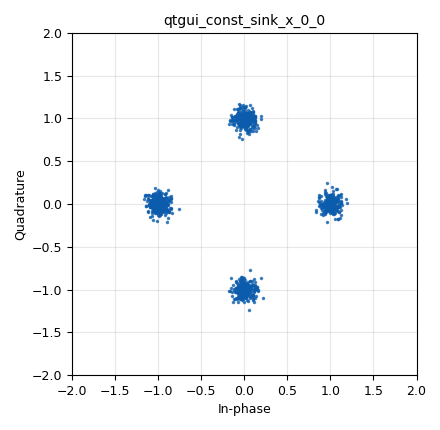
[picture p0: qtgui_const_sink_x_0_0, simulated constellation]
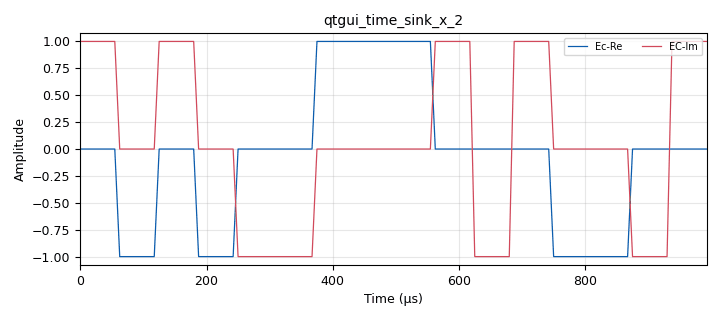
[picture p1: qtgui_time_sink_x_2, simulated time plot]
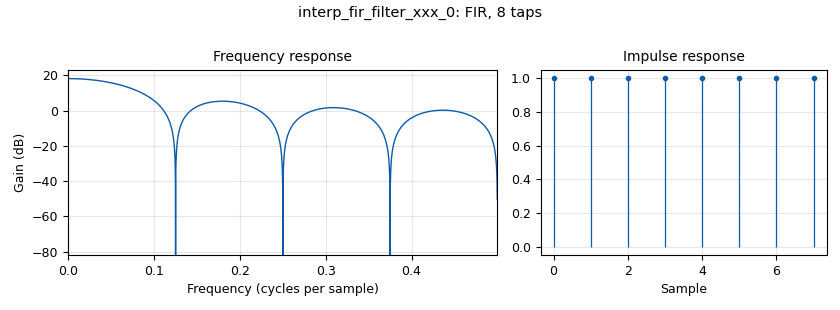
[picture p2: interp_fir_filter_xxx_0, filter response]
options:
  parameters:
    generate_options: qt_gui
    id: PSK
    output_language: python
    title: Not titled yet
  states: {}

blocks:
- name: Constelacion
  id: variable
  parameters:
    value: (-1+0j, 0+1j, 1+0j, 0-1j)
  states: {}
- name: M
  id: variable
  parameters:
    value: '4'
  states: {}
- name: Nbps
  id: variable
  parameters:
    value: int(math.log(M,2))
  states: {}
- name: Rb
  id: variable
  parameters:
    value: '32000'
  states: {}
- name: Rs
  id: variable
  parameters:
    value: Rb/Nbps
  states: {}
- name: Sps
  id: variable
  parameters:
    value: len(h)
  states: {}
- name: h
  id: variable
  parameters:
    value: (1, 1, 1, 1, 1, 1, 1, 1)
  states: {}
- name: samp_rate
  id: variable
  parameters:
    value: Rs*Sps
  states: {}
- name: analog_noise_source_x_0
  id: analog_noise_source_x
  parameters:
    amp: '0.1'
    noise_type: analog.GR_GAUSSIAN
    seed: '0'
    type: complex
  states: {}
- name: analog_random_source_x_0
  id: analog_random_source_x
  parameters:
    max: '2'
    min: '0'
    num_samps: '1000'
    repeat: 'True'
    type: byte
  states: {}
- name: blocks_add_xx_0
  id: blocks_add_xx
  parameters:
    type: complex
  states: {}
- name: blocks_char_to_float_0
  id: blocks_char_to_float
  parameters:
    scale: '1'
  states: {state: disabled}
- name: blocks_char_to_float_0_0
  id: blocks_char_to_float
  parameters:
    scale: '1'
  states: {state: disabled}
- name: blocks_null_sink_0
  id: blocks_null_sink
  parameters:
    type: complex
  states: {}
- name: blocks_repack_bits_bb_0
  id: blocks_repack_bits_bb
  parameters:
    endianness: gr.GR_LSB_FIRST
    k: '1'
    l: Nbps
  states: {}
- name: blocks_throttle2_0
  id: blocks_throttle2
  parameters:
    samples_per_second: samp_rate
    type: complex
  states: {}
- name: digital_chunks_to_symbols_xx_0
  id: digital_chunks_to_symbols_xx
  parameters:
    dimension: '1'
    in_type: byte
    out_type: complex
    symbol_table: Constelacion
  states: {}
- name: epy_block_0
  id: epy_block
  parameters:
    _source_code: |
      """
      Embedded Python Blocks:

      Each time this file is saved, GRC will instantiate the first class it finds
      to get ports and parameters of your block. The arguments to __init__  will
      be the parameters. All of them are required to have default values!
      """

      import numpy as np
      from gnuradio import gr


      class blk(gr.sync_block):  # other base classes are basic_block, decim_block, interp_block
          """Embedded Python Block example - a simple multiply const"""

          def __init__(self, example_param=1.0):  # only default arguments here
              """VCO de dos entradas:
              Q: para manipular la fase en radianes
              A: Manipular amplitud."""
              gr.sync_block.__init__(
                  self,
                  name='e_VCO_fase_fc',   
                  in_sig=[np.float32, np.float32],
                  out_sig=[np.complex64]
              )
              # if an attribute with the same name as a parameter is found,
              # a callback is registered (properties work, too).
              self.example_param = example_param

          def work(self, input_items, output_items):
              """example: multiply with constant"""
              Q = input_items [0]
              A = input_items [1]
              Sec = output_items [0]
              Sec [:] = A*np.exp(1.j*Q)
              return len(Sec)
    example_param: '1.0'
  states: {state: disabled}
- name: import_0
  id: import
  parameters:
    imports: import math
  states: {}
- name: interp_fir_filter_xxx_0
  id: interp_fir_filter_xxx
  parameters:
    interp: '8'
    taps: h
    type: ccc
  states: {}
- name: qtgui_const_sink_x_0
  id: qtgui_const_sink_x
  parameters:
    size: '1024'
    type: complex
  states: {state: disabled}
- name: qtgui_const_sink_x_0_0
  id: qtgui_const_sink_x
  parameters:
    size: '1024'
    type: complex
  states: {}
- name: qtgui_freq_sink_x_1
  id: qtgui_freq_sink_x
  parameters:
    average: '0.05'
    bw: samp_rate
    fc: '0'
    fftsize: '1024'
    type: complex
  states: {state: disabled}
- name: qtgui_time_sink_x_0
  id: qtgui_time_sink_x
  parameters:
    label1: Binary
    marker1: '0'
    size: '32'
    srate: Rb
    stemplot: 'True'
    type: float
    width1: '3'
  states: {state: disabled}
- name: qtgui_time_sink_x_0_0
  id: qtgui_time_sink_x
  parameters:
    label1: M-PAM
    marker1: '0'
    size: int(32/Nbps)
    srate: Rs
    stemplot: 'True'
    type: float
    width1: '3'
  states: {state: disabled}
- name: qtgui_time_sink_x_0_0_0
  id: qtgui_time_sink_x
  parameters:
    label1: M-PAM(mod)
    marker1: '0'
    size: int(32/Nbps)
    srate: Rs
    stemplot: 'True'
    type: float
    width1: '3'
  states: {state: disabled}
- name: qtgui_time_sink_x_1
  id: qtgui_time_sink_x
  parameters:
    label1: EC-Re
    label2: EC-Im
    size: '512'
    srate: Rs
    type: complex
    width1: '3'
    width2: '3'
  states: {state: disabled}
- name: qtgui_time_sink_x_2
  id: qtgui_time_sink_x
  parameters:
    label1: Ec-Re
    label2: EC-Im
    size: int(32*Sps/Nbps)
    srate: samp_rate
    type: complex
    width1: '3'
    width2: '3'
  states: {}

connections:
- [analog_noise_source_x_0, '0', blocks_add_xx_0, '1']
- [analog_noise_source_x_0, '0', qtgui_time_sink_x_1, '0']
- [analog_random_source_x_0, '0', blocks_char_to_float_0, '0']
- [analog_random_source_x_0, '0', blocks_repack_bits_bb_0, '0']
- [blocks_add_xx_0, '0', blocks_null_sink_0, '0']
- [blocks_add_xx_0, '0', qtgui_const_sink_x_0_0, '0']
- [blocks_char_to_float_0, '0', qtgui_time_sink_x_0, '0']
- [blocks_char_to_float_0_0, '0', qtgui_time_sink_x_0_0, '0']
- [blocks_repack_bits_bb_0, '0', blocks_char_to_float_0_0, '0']
- [blocks_repack_bits_bb_0, '0', digital_chunks_to_symbols_xx_0, '0']
- [blocks_throttle2_0, '0', blocks_add_xx_0, '0']
- [digital_chunks_to_symbols_xx_0, '0', interp_fir_filter_xxx_0, '0']
- [interp_fir_filter_xxx_0, '0', blocks_throttle2_0, '0']
- [interp_fir_filter_xxx_0, '0', qtgui_freq_sink_x_1, '0']
- [interp_fir_filter_xxx_0, '0', qtgui_time_sink_x_2, '0']

metadata:
  file_format: 1
  grc_version: v3.10.11.0-89-ga17f69e7
